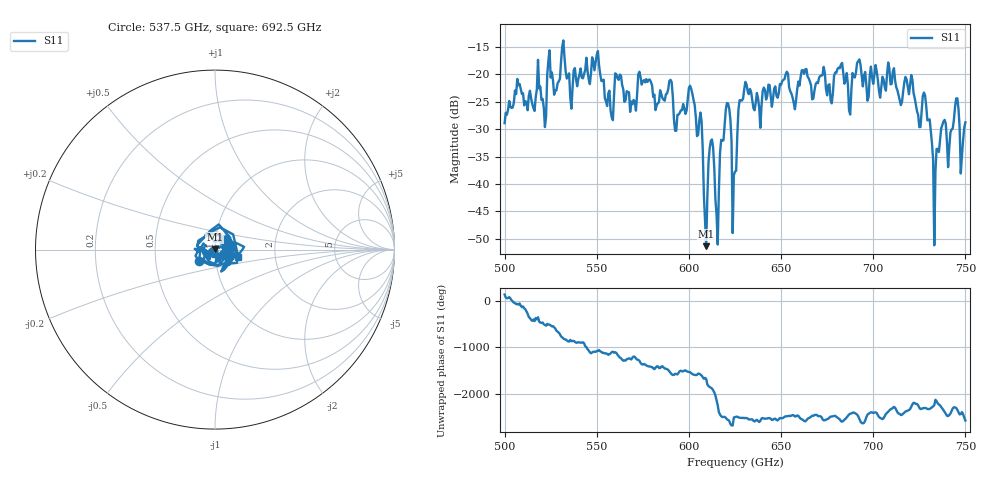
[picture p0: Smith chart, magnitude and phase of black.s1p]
!Created with skrf (http://scikit-rf.org).
# GHz S MA R 50.0
!freq magS11 angS11
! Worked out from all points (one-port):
!   401 points, 500 GHz to 750 GHz, reference 50 ohm
!   lowest |S11| = -51.3 dB at 609.4 GHz (marker M1), VSWR 1.01, Z = 49.9 + j0.234 ohm
!   |S11| at or under -10 dB: start of sweep to end of sweep
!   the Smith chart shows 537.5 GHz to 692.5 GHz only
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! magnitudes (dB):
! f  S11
! 500 GHz  -28.9
! 507.5 GHz  -22.0
! 521.2 GHz  -26.1
! 531.2 GHz  -15.0
! 535.6 GHz  -24.2
! 550.6 GHz  -15.8
! 557.5 GHz  -26.6
! 562.5 GHz  -20.0
! 590 GHz  -21.0
! 593.8 GHz  -27.4
! 601.2 GHz  -22.7
! 606.2 GHz  -27.0
! 609.4 GHz  -51.3
! 611.9 GHz  -32.2
! 615.6 GHz  -51.0
! 621.2 GHz  -25.3
! 625 GHz  -37.7
! 627.5 GHz  -24.7
! 630.6 GHz  -21.4
! 656.2 GHz  -24.2
! 681.9 GHz  -18.9
! 687.5 GHz  -27.3
! 691.9 GHz  -17.6
! 718.8 GHz  -22.3
! 728.1 GHz  -23.8
! 733.8 GHz  -37.7
! 738.1 GHz  -28.6
! 750 GHz  -28.7
